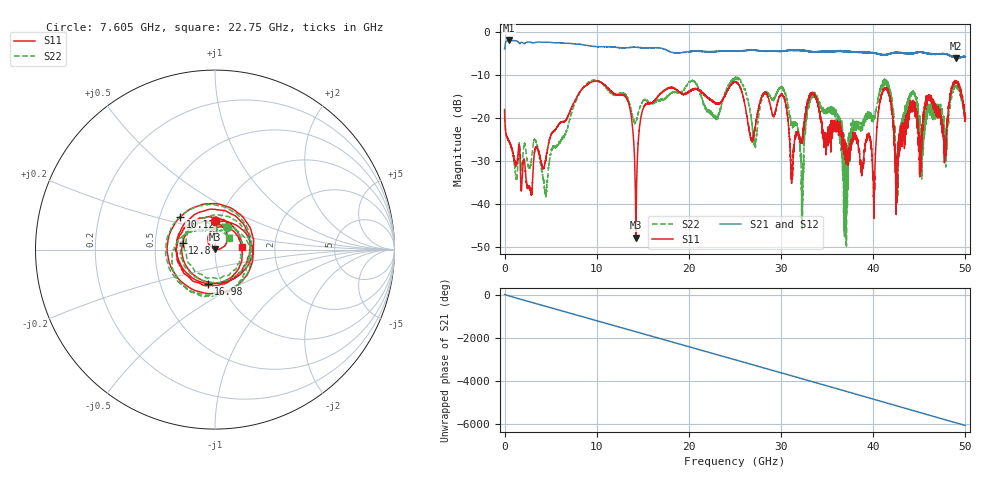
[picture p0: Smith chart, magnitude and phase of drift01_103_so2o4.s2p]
!Created with skrf (http://scikit-rf.org).
# Hz S RI R 50.0
!freq ReS11 ImS11 ReS21 ImS21 ReS12 ImS12 ReS22 ImS22
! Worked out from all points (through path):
!   10001 points, 300 kHz to 50 GHz, reference 50 ohm
!   highest |S21| = -2.00 dB at 490.3 MHz (marker M1); lowest = -6.1 dB at 48.98 GHz (marker M2)
!   group delay of S21, straight-line fit = 336 ps
!   lowest |S11| = -47.9 dB at 14.25 GHz (marker M3), VSWR 1.01, Z = 50.1 + j0.398 ohm
!   |S11| at or under -10 dB: start of sweep to end of sweep
!   |S22| runs from -49.9 to -10.5 dB; largest |S21 - S12| = 0.021
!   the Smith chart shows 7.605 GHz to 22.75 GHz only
!   S11 on the Smith chart (normalised r, x): 7.605 GHz: 0.96, +0.31; 10.12 GHz: 0.64, +0.25; 12.8 GHz: 0.69, +0.06; 16.98 GHz: 0.86, -0.34; 22.75 GHz: 1.35, +0.05
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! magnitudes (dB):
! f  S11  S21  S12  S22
! 300 kHz  -18.3  -4.0  -4.1  -17.9
! 490.3 MHz  -25.5  -2.0  -2.0  -25.5
! 4.435 GHz  -30.0  -2.4  -2.4  -37.3
! 7.605 GHz  -16.1  -2.8  -2.8  -16.9
! 8.335 GHz  -13.5  -3.0  -3.0  -13.5
! 10.12 GHz  -11.5  -3.4  -3.4  -11.4
! 12.8 GHz  -14.7  -3.7  -3.7  -14.3
! 14.25 GHz  -47.9  -3.6  -3.6  -21.2
! 16.67 GHz  -14.9  -3.7  -3.7  -15.9
! 16.98 GHz  -14.2  -3.8  -3.8  -15.7
! 22.75 GHz  -16.4  -4.6  -4.6  -19.8
! 25 GHz  -11.6  -4.5  -4.5  -10.9
! 27.15 GHz  -22.6  -4.3  -4.2  -26.3
! 30.2 GHz  -14.9  -4.5  -4.5  -13.3
! 32.27 GHz  -25.3  -4.4  -4.3  -43.2
! 33.34 GHz  -14.2  -4.6  -4.6  -14.7
! 37.02 GHz  -27.0  -4.5  -4.6  -34.7
! 40.06 GHz  -41.6  -4.9  -5.0  -20.2
! 41.67 GHz  -14.0  -5.1  -5.1  -12.9
! 42.56 GHz  -34.4  -4.8  -4.8  -28.3
! 48.98 GHz  -11.4  -6.1  -6.0  -12.7
! 50 GHz  -19.6  -5.8  -5.8  -19.9
